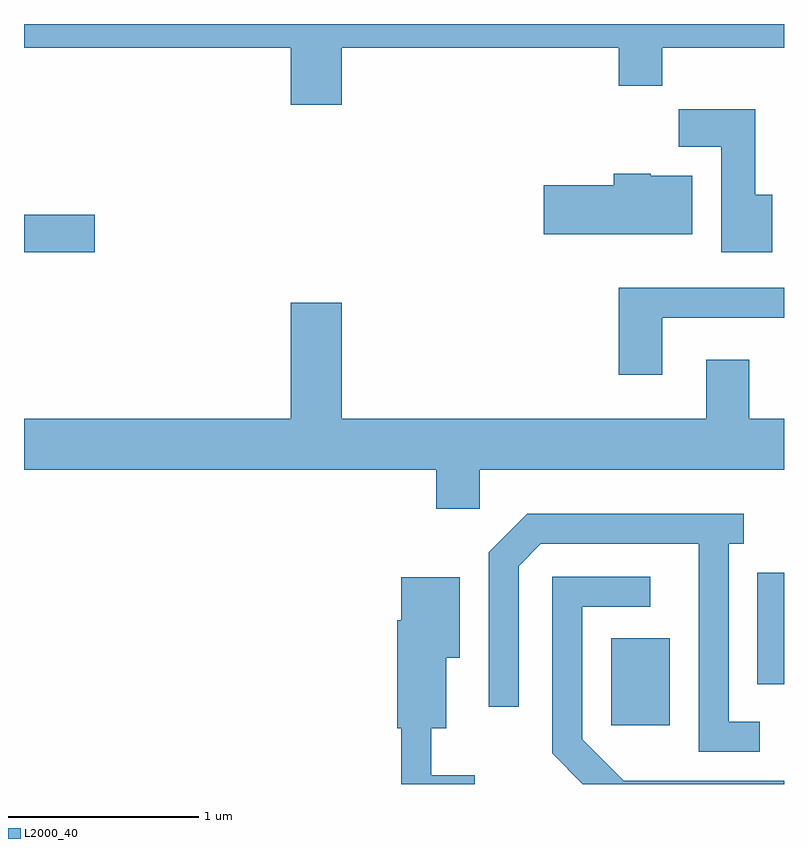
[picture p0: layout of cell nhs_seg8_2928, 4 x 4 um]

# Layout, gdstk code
import gdstk
lib = gdstk.Library(unit=1e-6, precision=1e-09)
def R(c, l, rs):  # rectangles x0, y0, x1, y1
    for r in rs: c.add(gdstk.rectangle(r[:2], r[2:], *l))
def P(c, l, *ps):  # polygons
    for p in ps: c.add(gdstk.Polygon(p, *l))
L2000_40 = (2000, 40)

nhs_seg8_2928 = lib.new_cell('nhs_seg8_2928')
R(nhs_seg8_2928, L2000_40, [(276.701,1810.651,277.009,1811.109), (277.471,1810.868,277.611,1811.454), (273.611,1813.141,273.984,1813.339)])
P(nhs_seg8_2928, L2000_40, [(275.284,1814.216),(276.741,1814.216),(276.741,1814.016),(276.969,1814.016),(276.969,1814.216),(277.611,1814.216),(277.611,1814.342),(273.611,1814.342),(273.611,1814.216),(275.016,1814.216),(275.016,1813.916),(275.284,1813.916)],
  [(277.549,1813.444),(277.459,1813.444),(277.459,1813.894),(277.056,1813.894),(277.056,1813.696),(277.281,1813.696),(277.281,1813.141),(277.549,1813.141)],
  [(277.129,1813.544),(276.91,1813.544),(276.91,1813.554),(276.716,1813.554),(276.716,1813.494),(276.346,1813.494),(276.346,1813.236),(277.129,1813.236)],
  [(276.969,1812.796),(277.611,1812.796),(277.611,1812.954),(276.741,1812.954),(276.741,1812.496),(276.969,1812.496)],
  [(277.611,1812.264),(277.429,1812.264),(277.429,1812.574),(277.201,1812.574),(277.201,1812.264),(275.284,1812.264),(275.284,1812.874),(275.016,1812.874),(275.016,1812.264),(273.611,1812.264),(273.611,1811.996),(275.781,1811.996),(275.781,1811.791),(276.009,1811.791),(276.009,1811.996),(277.611,1811.996)],
  [(277.483,1810.669),(277.319,1810.669),(277.319,1811.606),(277.398,1811.606),(277.398,1811.764),(276.259,1811.764),(276.056,1811.562),(276.056,1810.748),(276.214,1810.748),(276.214,1811.489),(276.332,1811.606),(277.161,1811.606),(277.161,1810.511),(277.483,1810.511)],
  [(277.611,1810.359),(276.767,1810.359),(276.549,1810.577),(276.549,1811.276),(276.908,1811.276),(276.908,1811.434),(276.391,1811.434),(276.391,1810.504),(276.553,1810.342),(277.611,1810.342)],
  [(275.983,1810.389),(275.754,1810.389),(275.754,1810.636),(275.834,1810.636),(275.834,1811.006),(275.904,1811.006),(275.904,1811.429),(275.596,1811.429),(275.596,1811.204),(275.576,1811.204),(275.576,1810.636),(275.596,1810.636),(275.596,1810.342),(275.983,1810.342)])

lib.write_gds('nhs_seg8_2928.gds')
